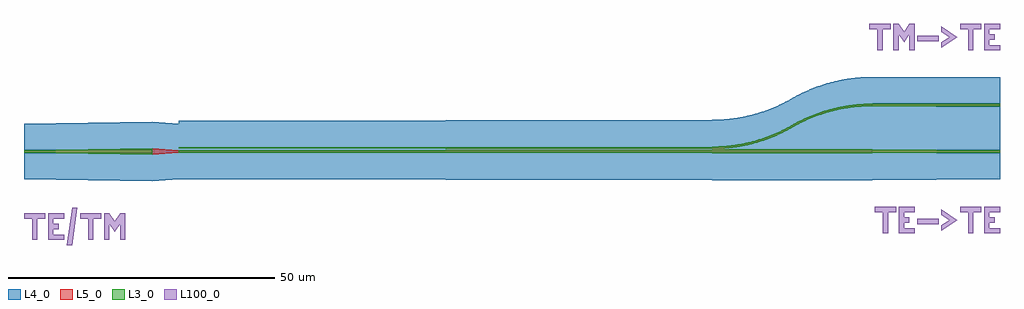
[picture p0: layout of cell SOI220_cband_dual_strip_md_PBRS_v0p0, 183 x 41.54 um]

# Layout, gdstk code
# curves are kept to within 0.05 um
import gdstk
lib = gdstk.Library(unit=1e-6, precision=1e-09)
def R(c, l, rs):  # rectangles x0, y0, x1, y1
    for r in rs: c.add(gdstk.rectangle(r[:2], r[2:], *l))
def P(c, l, *ps):  # polygons
    for p in ps: c.add(gdstk.Polygon(p, *l))
L3_0 = (3, 0)
L4_0 = (4, 0)
L5_0 = (5, 0)
L100_0 = (100, 0)

soi220_cband_dual_strip_ = lib.new_cell('SOI220_cband_dual_strip_md_PBRS_v0p0')
P(soi220_cband_dual_strip_, L3_0, [(129,-0.375),(29,-0.225),(29,0.225),(129,0.375),(159,0.375),(183,0.225),(183,-0.225),(159,-0.375)],
  [(24,-0.6),(0,-0.225),(0,0.225),(24,0.6)],
  [(129,0.45),(29,0.575),(29,0.775),(130.533,0.939),(132.316,1.085),(134.338,1.382),(136.087,1.756),(138.055,2.31),(139.742,2.905),(141.39,3.6),(142.767,4.274),(145.719,5.864),(148.096,6.903),(149.561,7.427),(151.052,7.875),(152.817,8.299),(154.349,8.578),(156.409,8.827),(158.481,8.934),(183,8.938),(183,8.488),(158.489,8.484),(156.447,8.379),(154.418,8.134),(152.66,7.806),(151.17,7.441),(149.702,6.999),(148.258,6.483),(145.917,5.46),(142.976,3.875),(141.341,3.084),(139.419,2.302),(137.696,1.728),(135.436,1.143),(133.395,0.771),(131.074,0.521)])
P(soi220_cband_dual_strip_, L4_0, [(24,-5.6),(0,-5.225),(0,-0.225),(24,-0.1),(24,0.1),(0,0.225),(0,5.225),(24,5.6),(29,5.225),(29,5.775),(130.533,5.939),(132.316,6.085),(134.338,6.382),(136.087,6.756),(138.055,7.31),(139.742,7.905),(141.39,8.6),(145.719,10.864),(148.096,11.903),(151.052,12.875),(154.349,13.578),(156.409,13.827),(158.481,13.934),(183,13.938),(183,8.938),(159,8.813),(159,8.613),(183,8.488),(183,0.225),(159,0.1),(159,-0.1),(183,-0.225),(183,-5.225),(159,-5.375),(29,-5.225)])
P(soi220_cband_dual_strip_, L5_0, [(24,-0.6),(0,-0.225),(0,0.225),(24,0.6),(29,0.225),(129,0.375),(159,0.375),(183,0.225),(183,-0.225),(159,-0.375),(129,-0.375),(29,-0.225)],
  [(129,0.45),(29,0.575),(29,0.775),(130.533,0.939),(132.316,1.085),(134.338,1.382),(136.087,1.756),(138.055,2.31),(139.742,2.905),(141.39,3.6),(142.767,4.274),(145.719,5.864),(148.096,6.903),(149.561,7.427),(151.052,7.875),(152.817,8.299),(154.349,8.578),(156.409,8.827),(158.481,8.934),(183,8.938),(183,8.488),(158.489,8.484),(156.447,8.379),(154.418,8.134),(152.66,7.806),(151.17,7.441),(149.702,6.999),(148.258,6.483),(145.917,5.46),(142.976,3.875),(141.341,3.084),(139.419,2.302),(137.696,1.728),(135.436,1.143),(133.395,0.771),(131.074,0.521)])
R(soi220_cband_dual_strip_, L100_0, [(167.5,-13.625,171.5,-12.625), (167.5,20.688,171.5,21.688)])
P(soi220_cband_dual_strip_, L100_0, [(1.5,-16.6),(1.5,-12.6),(0,-12.6),(0,-11.6),(4,-11.6),(4,-12.6),(2.5,-12.6),(2.5,-16.6)],
  [(4.5,-16.6),(4.5,-11.6),(7.5,-11.6),(7.5,-12.6),(5.5,-12.6),(5.5,-13.6),(6.5,-13.6),(6.5,-14.6),(5.5,-14.6),(5.5,-15.6),(7.5,-15.6),(7.5,-16.6)],
  [(12,-16.6),(12,-12.6),(10.5,-12.6),(10.5,-11.6),(14.5,-11.6),(14.5,-12.6),(13,-12.6),(13,-16.6)],
  [(15,-16.6),(15,-11.6),(16,-11.6),(17,-13.1),(18,-11.6),(19,-11.6),(19,-16.6),(18,-16.6),(18,-13.6),(17,-15.1),(16,-13.6),(16,-16.6)],
  [(172,-14.875),(172,-13.875),(173.5,-12.875),(172,-11.875),(172,-10.875),(175,-12.875)],
  [(8,-17.6),(9,-10.6),(10,-10.6),(9,-17.6)],
  [(161,-15.375),(161,-11.375),(159.5,-11.375),(159.5,-10.375),(163.5,-10.375),(163.5,-11.375),(162,-11.375),(162,-15.375)],
  [(164,-15.375),(164,-10.375),(167,-10.375),(167,-11.375),(165,-11.375),(165,-12.375),(166,-12.375),(166,-13.375),(165,-13.375),(165,-14.375),(167,-14.375),(167,-15.375)],
  [(177,-15.375),(177,-11.375),(175.5,-11.375),(175.5,-10.375),(179.5,-10.375),(179.5,-11.375),(178,-11.375),(178,-15.375)],
  [(180,-15.375),(180,-10.375),(183,-10.375),(183,-11.375),(181,-11.375),(181,-12.375),(182,-12.375),(182,-13.375),(181,-13.375),(181,-14.375),(183,-14.375),(183,-15.375)],
  [(172,19.438),(172,20.438),(173.5,21.438),(172,22.438),(172,23.438),(175,21.438)],
  [(160,18.938),(160,22.938),(158.5,22.938),(158.5,23.938),(162.5,23.938),(162.5,22.938),(161,22.938),(161,18.938)],
  [(163,18.938),(163,23.938),(164,23.938),(165,22.438),(166,23.938),(167,23.938),(167,18.938),(166,18.938),(166,21.938),(165,20.438),(164,21.938),(164,18.938)],
  [(177,18.938),(177,22.938),(175.5,22.938),(175.5,23.938),(179.5,23.938),(179.5,22.938),(178,22.938),(178,18.938)],
  [(180,18.938),(180,23.938),(183,23.938),(183,22.938),(181,22.938),(181,21.938),(182,21.938),(182,20.938),(181,20.938),(181,19.938),(183,19.938),(183,18.938)])

lib.write_gds('SOI220_cband_dual_strip_md_PBRS_v0p0.gds')
